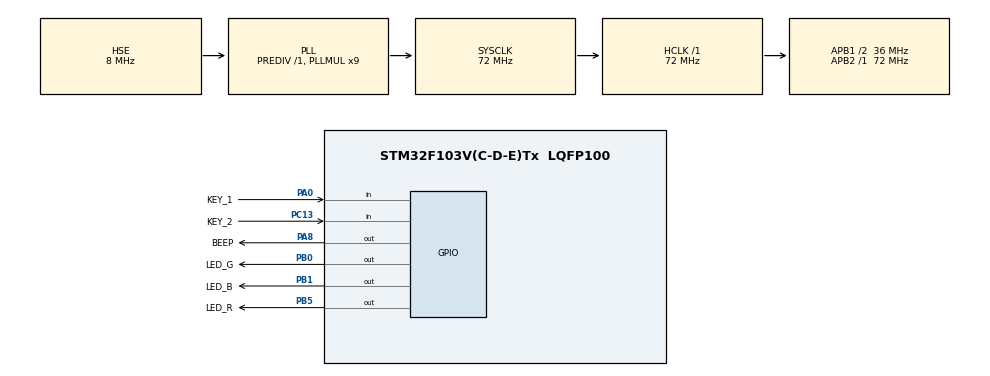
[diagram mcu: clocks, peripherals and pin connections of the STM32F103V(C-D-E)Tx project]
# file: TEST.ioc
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Mcu.Family=STM32F1
Mcu.Name=STM32F103V(C-D-E)Tx
Mcu.Package=LQFP100
NVIC.PriorityGroup=NVIC_PRIORITYGROUP_4
OSC_IN.Mode=HSE-External-Oscillator
OSC_IN.Signal=RCC_OSC_IN
OSC_OUT.Mode=HSE-External-Oscillator
OSC_OUT.Signal=RCC_OSC_OUT
PA0-WKUP.GPIO_Label=KEY_1
PA0-WKUP.Signal=GPIO_Input
PA13.Mode=Serial_Wire
PA13.Signal=SYS_JTMS-SWDIO
PA14.Mode=Serial_Wire
PA14.Signal=SYS_JTCK-SWCLK
PA8.GPIO_Label=BEEP
PA8.Signal=GPIO_Output
PB0.GPIO_Label=LED_G
PB0.GPIO_PuPd=GPIO_PULLUP
PB0.GPIO_Speed=GPIO_SPEED_FREQ_HIGH
PB0.PinState=GPIO_PIN_SET
PB0.Signal=GPIO_Output
PB1.GPIO_Label=LED_B
PB1.GPIO_PuPd=GPIO_PULLUP
PB1.GPIO_Speed=GPIO_SPEED_FREQ_HIGH
PB1.PinState=GPIO_PIN_SET
PB1.Signal=GPIO_Output
PB5.GPIO_Label=LED_R
PB5.GPIO_PuPd=GPIO_PULLDOWN
PB5.GPIO_Speed=GPIO_SPEED_FREQ_HIGH
PB5.PinState=GPIO_PIN_SET
PB5.Signal=GPIO_Output
PC13-TAMPER-RTC.GPIO_Label=KEY_2
PC13-TAMPER-RTC.Signal=GPIO_Input
ProjectManager.HeapSize=0x200
ProjectManager.StackSize=0x400
ProjectManager.TargetToolchain=STM32CubeIDE
RCC.AHBFreq_Value=72000000
RCC.APB1CLKDivider=RCC_HCLK_DIV2
RCC.APB1Freq_Value=36000000
RCC.APB1TimFreq_Value=72000000
RCC.APB2Freq_Value=72000000
RCC.APB2TimFreq_Value=72000000
RCC.HCLKFreq_Value=72000000
RCC.PLLMUL=RCC_PLL_MUL9
RCC.PLLSourceVirtual=RCC_PLLSOURCE_HSE
RCC.SYSCLKFreq_VALUE=72000000
RCC.SYSCLKSource=RCC_SYSCLKSOURCE_PLLCLK
RCC.USBFreq_Value=72000000
board=custom

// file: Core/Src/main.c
/* USER CODE BEGIN Header */
/**
  **
  • @file           : main.c
  • @brief          : Main program body
  **
  • @attention
  *
  • Copyright (c) 2025 STMicroelectronics.
  • All rights reserved.
  *
  • This software is licensed under terms that can be found in the LICENSE file
  • in the root directory of this software component.
  • If no LICENSE file comes with this software, it is provided AS-IS.
  *
  **
  */
/* USER CODE END Header */
#include "main.h"
/* USER CODE BEGIN Includes */
#include<math.h>
/* USER CODE END Includes */
void SystemClock_Config(void);
static void MX_GPIO_Init(void);
int main(void) {
    /* USER CODE BEGIN 1 */
    int mode = 5;
    int modeTotal = 5;
    float dt =.001;
    float t = .0;
    int tk = 0;

    int beepContinue = 100;
    int beepCurrent = beepContinue;
    // bool beepA = false;

    int sosA = 1;

    /* USER CODE END 1 */
    /* MCU Configuration--------------------------------------------------------*/
    /* Reset of all peripherals, Initializes the Flash interface and the Systick. */
    HAL_Init();
    /* Configure the system clock */
    SystemClock_Config();
    /* Initialize all configured peripherals */
    MX_GPIO_Init();
    /* USER CODE BEGIN 2 */
    void BlowOut3LED () {
        HAL_GPIO_WritePin(LED_R_GPIO_Port, LED_R_Pin, 1);
        HAL_GPIO_WritePin(LED_G_GPIO_Port, LED_G_Pin, 1);
        HAL_GPIO_WritePin(LED_B_GPIO_Port, LED_B_Pin, 1);
    }

    void RHeart(int lt) {
        for (int i = 0; i<100; i++) {
            if (i < lt) {
                HAL_GPIO_WritePin(LED_R_GPIO_Port, LED_R_Pin, 0);
            } else {
                HAL_GPIO_WritePin(LED_R_GPIO_Port, LED_R_Pin, 1);
            }
        }
    }

    void BeepMusic(int lt) {
        for (int i = 0; i<100; i++) {
            if (i < lt) {
                HAL_GPIO_WritePin(BEEP_GPIO_Port, BEEP_Pin, 1);
            } else {
                HAL_GPIO_WritePin(BEEP_GPIO_Port, BEEP_Pin, 0);
            }
        }
    }

    int SOS_data[] ={0,1,0,1,0,1,0,0,1,1,0,1,1,0,1,1,0,0,1,0,1,0,1,0};
    int SOS_i = 0;

    int R_data[] ={1,0,1,0};
    int R_i = 0;

    int G_data[] ={0,0,1,1};
    int G_i = 0;

    int B_data[] ={1,1,0,0};
    int B_i = 0;

    int Music_data[] ={0,10,20,30, 40, 50, 60, 70, 80, 90, 100};
    int Music_i = 0;

    /* USER CODE END 2 */
    /* Infinite loop */
    while (1) {

        // 处理按键
        HAL_GPIO_ReadPin(KEY_2_GPIO_Port, KEY_2_Pin);
        if (HAL_GPIO_ReadPin(KEY_2_GPIO_Port, KEY_2_Pin)==1) {
            if (mode == modeTotal) { mode = 1; } else { mode+=1; }
            beepCurrent = 0;
            BlowOut3LED();
            HAL_Delay(dt*1e3);
            while (HAL_GPIO_ReadPin(KEY_2_GPIO_Port, KEY_2_Pin)==1) {}
        } else {
            HAL_Delay(dt*1e3);
        }

        // 蜂鸣器
        if (beepCurrent < beepContinue) {
            HAL_GPIO_WritePin(BEEP_GPIO_Port, BEEP_Pin, 1);
            beepCurrent +=1;
        } else {
            HAL_GPIO_WritePin(BEEP_GPIO_Port, BEEP_Pin, 0);
        }

        // 模式处理
        if (mode==1) {
            if (tk%300==0){
                // beepCurrent = 0;
                int R = R_data[R_i]; R_i += 1; if (R_i==3) {R_i=0;}
                HAL_GPIO_WritePin(LED_R_GPIO_Port, LED_R_Pin, 1 - R);

                int G = G_data[G_i]; G_i += 1; if (G_i==3) {G_i=0;}
                HAL_GPIO_WritePin(LED_G_GPIO_Port, LED_G_Pin, 1 - G);

                int B = B_data[B_i]; B_i += 1; if (B_i==3) {B_i=0;}
                HAL_GPIO_WritePin(LED_B_GPIO_Port, LED_B_Pin, 1 - B);
            }
        } else if (mode == 2) {
            if (tk%100==0){
                int R = R_data[R_i]; R_i += 1; if (R_i==3) {R_i=0;}
                HAL_GPIO_WritePin(LED_R_GPIO_Port, LED_R_Pin, 1 - R);

                int G = G_data[G_i]; G_i += 1; if (G_i==3) {G_i=0;}
                HAL_GPIO_WritePin(LED_G_GPIO_Port, LED_G_Pin, 1 - G);

                int B = B_data[B_i]; B_i += 1; if (B_i==3) {B_i=0;}
                HAL_GPIO_WritePin(LED_B_GPIO_Port, LED_B_Pin, 1 - B);
            }
        } else if (mode == 3) {
            if (tk%300==0){
                sosA = SOS_data[SOS_i]; SOS_i += 1; if (SOS_i==23) {SOS_i=0;}
                HAL_GPIO_WritePin(LED_R_GPIO_Port, LED_R_Pin, 1 - sosA);
            }
        } else if (mode == 4) {
            RHeart(50 + 50 * sin(5.0 * t));
        } else if (mode == 5) {
            // BeepMusic(50 + 50 * sin(5.0 * t));
            if (tk % 5 == 0) {
                int M = Music_data[Music_i];
                Music_i += 1;
                if (Music_i == 10) { Music_i = 0; }
                BeepMusic(M);
            }
        }

        // 环境时间
        t += dt;
        tk += 1;

    }
}
void SystemClock_Config(void) {
    RCC_OscInitTypeDef RCC_OscInitStruct = {
            0
    }
    ;
    RCC_ClkInitTypeDef RCC_ClkInitStruct = {
            0
    }
    ;
    /** Initializes the RCC Oscillators according to the specified parameters
  • in the RCC_OscInitTypeDef structure.
  */
    RCC_OscInitStruct.OscillatorType = RCC_OSCILLATORTYPE_HSE;
    RCC_OscInitStruct.HSEState = RCC_HSE_ON;
    RCC_OscInitStruct.HSEPredivValue = RCC_HSE_PREDIV_DIV1;
    RCC_OscInitStruct.HSIState = RCC_HSI_ON;
    RCC_OscInitStruct.PLL.PLLState = RCC_PLL_ON;
    RCC_OscInitStruct.PLL.PLLSource = RCC_PLLSOURCE_HSE;
    RCC_OscInitStruct.PLL.PLLMUL = RCC_PLL_MUL9;
    if (HAL_RCC_OscConfig(&RCC_OscInitStruct) != HAL_OK) {
        Error_Handler();
    }
    /** Initializes the CPU, AHB and APB buses clocks
  */
    RCC_ClkInitStruct.ClockType = RCC_CLOCKTYPE_HCLK|RCC_CLOCKTYPE_SYSCLK
                                  |RCC_CLOCKTYPE_PCLK1|RCC_CLOCKTYPE_PCLK2;
    RCC_ClkInitStruct.SYSCLKSource = RCC_SYSCLKSOURCE_PLLCLK;
    RCC_ClkInitStruct.AHBCLKDivider = RCC_SYSCLK_DIV1;
    RCC_ClkInitStruct.APB1CLKDivider = RCC_HCLK_DIV2;
    RCC_ClkInitStruct.APB2CLKDivider = RCC_HCLK_DIV1;
    if (HAL_RCC_ClockConfig(&RCC_ClkInitStruct, FLASH_LATENCY_2) != HAL_OK) {
        Error_Handler();
    }
}
static void MX_GPIO_Init(void) {
    GPIO_InitTypeDef GPIO_InitStruct = {
            0
    }
    ;
    /* GPIO Ports Clock Enable */
    __HAL_RCC_GPIOC_CLK_ENABLE();
    __HAL_RCC_GPIOA_CLK_ENABLE();
    __HAL_RCC_GPIOB_CLK_ENABLE();
    /*Configure GPIO pin Output Level */
    HAL_GPIO_WritePin(GPIOB, LED_G_Pin|LED_B_Pin|LED_R_Pin, GPIO_PIN_SET);
    /*Configure GPIO pin Output Level */
    HAL_GPIO_WritePin(BEEP_GPIO_Port, BEEP_Pin, GPIO_PIN_RESET);
    /*Configure GPIO pin : KEY_2_Pin */
    GPIO_InitStruct.Pin = KEY_2_Pin;
    GPIO_InitStruct.Mode = GPIO_MODE_INPUT;
    GPIO_InitStruct.Pull = GPIO_NOPULL;
    HAL_GPIO_Init(KEY_2_GPIO_Port, &GPIO_InitStruct);
    /*Configure GPIO pin : KEY_1_Pin */
    GPIO_InitStruct.Pin = KEY_1_Pin;
    GPIO_InitStruct.Mode = GPIO_MODE_INPUT;
    GPIO_InitStruct.Pull = GPIO_NOPULL;
    HAL_GPIO_Init(KEY_1_GPIO_Port, &GPIO_InitStruct);
    /*Configure GPIO pins : LED_G_Pin LED_B_Pin */
    GPIO_InitStruct.Pin = LED_G_Pin|LED_B_Pin;
    GPIO_InitStruct.Mode = GPIO_MODE_OUTPUT_PP;
    GPIO_InitStruct.Pull = GPIO_PULLUP;
    GPIO_InitStruct.Speed = GPIO_SPEED_FREQ_HIGH;
    HAL_GPIO_Init(GPIOB, &GPIO_InitStruct);
    /*Configure GPIO pin : BEEP_Pin */
    GPIO_InitStruct.Pin = BEEP_Pin;
    GPIO_InitStruct.Mode = GPIO_MODE_OUTPUT_PP;
    GPIO_InitStruct.Pull = GPIO_NOPULL;
    GPIO_InitStruct.Speed = GPIO_SPEED_FREQ_LOW;
    HAL_GPIO_Init(BEEP_GPIO_Port, &GPIO_InitStruct);
    /*Configure GPIO pin : LED_R_Pin */
    GPIO_InitStruct.Pin = LED_R_Pin;
    GPIO_InitStruct.Mode = GPIO_MODE_OUTPUT_PP;
    GPIO_InitStruct.Pull = GPIO_PULLDOWN;
    GPIO_InitStruct.Speed = GPIO_SPEED_FREQ_HIGH;
    HAL_GPIO_Init(LED_R_GPIO_Port, &GPIO_InitStruct);
}
void Error_Handler(void) {
    __disable_irq();
    while (1) {
    }
}
/* USE_FULL_ASSERT */
